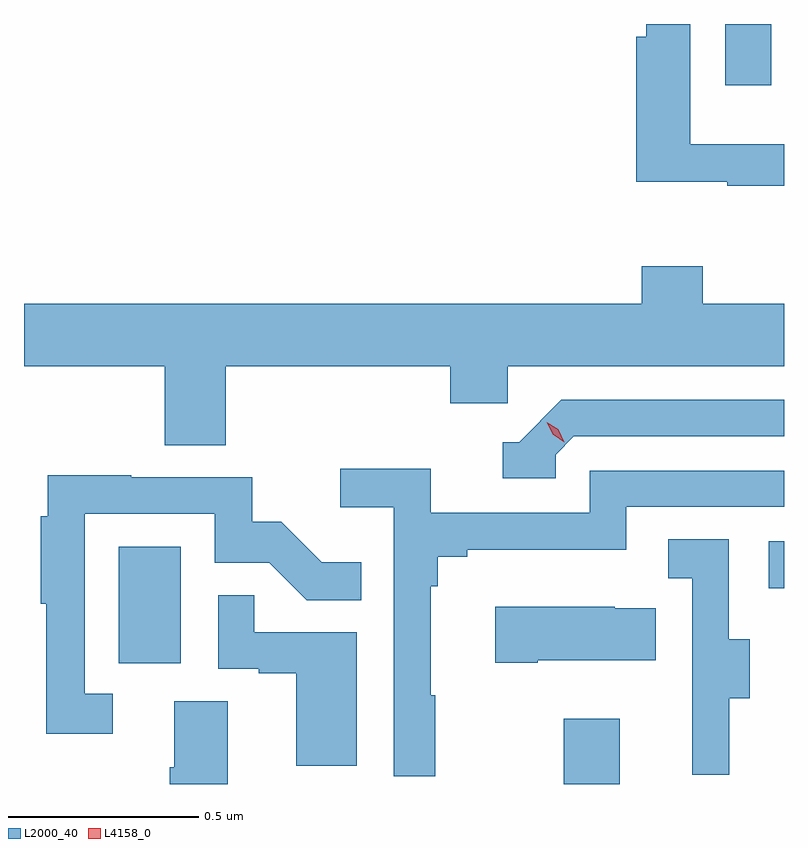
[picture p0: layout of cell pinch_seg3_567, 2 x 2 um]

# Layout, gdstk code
import gdstk
lib = gdstk.Library(unit=1e-6, precision=1e-09)
def R(c, l, rs):  # rectangles x0, y0, x1, y1
    for r in rs: c.add(gdstk.rectangle(r[:2], r[2:], *l))
def P(c, l, *ps):  # polygons
    for p in ps: c.add(gdstk.Polygon(p, *l))
L2000_40 = (2000, 40)
L4158_0 = (4158, 0)

pinch_seg3_567 = lib.new_cell('pinch_seg3_567')
R(pinch_seg3_567, L2000_40, [(1137.742,691.824,1137.889,691.996), (1136.57,692.142,1136.734,692.449), (1138.281,692.339,1138.321,692.463), (1138.166,693.663,1138.288,693.824)])
P(pinch_seg3_567, L2000_40, [(1138.321,693.507),(1138.284,693.507),(1138.284,693.508),(1138.074,693.508),(1138.074,693.824),(1137.958,693.824),(1137.958,693.79),(1137.932,693.79),(1137.932,693.409),(1138.171,693.409),(1138.171,693.399),(1138.321,693.399)],
  [(1136.852,692.924),(1137.443,692.924),(1137.443,692.826),(1137.594,692.826),(1137.594,692.924),(1138.321,692.924),(1138.321,693.088),(1138.107,693.088),(1138.107,693.187),(1137.947,693.187),(1137.947,693.088),(1136.321,693.088),(1136.321,692.924),(1136.692,692.924),(1136.692,692.716),(1136.852,692.716)],
  [(1137.72,692.691),(1137.768,692.739),(1138.321,692.739),(1138.321,692.835),(1137.735,692.835),(1137.624,692.724),(1137.581,692.724),(1137.581,692.628),(1137.72,692.628)],
  [(1137.403,692.057),(1137.391,692.057),(1137.391,692.345),(1137.41,692.345),(1137.41,692.422),(1137.487,692.422),(1137.487,692.441),(1137.906,692.441),(1137.906,692.553),(1138.321,692.553),(1138.321,692.649),(1137.81,692.649),(1137.81,692.538),(1137.392,692.538),(1137.392,692.654),(1137.153,692.654),(1137.153,692.552),(1137.294,692.552),(1137.294,691.845),(1137.403,691.845)],
  [(1136.554,692.061),(1136.481,692.061),(1136.481,692.535),(1136.823,692.535),(1136.823,692.406),(1136.967,692.406),(1137.065,692.308),(1137.209,692.308),(1137.209,692.407),(1137.105,692.407),(1136.998,692.514),(1136.922,692.514),(1136.922,692.631),(1136.603,692.631),(1136.603,692.636),(1136.384,692.636),(1136.384,692.528),(1136.365,692.528),(1136.365,692.298),(1136.38,692.298),(1136.38,691.956),(1136.554,691.956)],
  [(1138.177,692.05),(1138.231,692.05),(1138.231,692.205),(1138.176,692.205),(1138.176,692.468),(1138.017,692.468),(1138.017,692.365),(1138.08,692.365),(1138.08,692.061),(1138.079,692.061),(1138.079,691.848),(1138.177,691.848)],
  [(1137.196,692.223),(1136.927,692.223),(1136.927,692.321),(1136.832,692.321),(1136.832,692.127),(1136.939,692.127),(1136.939,692.115),(1137.038,692.115),(1137.038,691.872),(1137.196,691.872)],
  [(1137.673,692.15),(1137.983,692.15),(1137.983,692.287),(1137.875,692.287),(1137.875,692.29),(1137.561,692.29),(1137.561,692.143),(1137.673,692.143)],
  [(1136.857,692.042),(1136.717,692.042),(1136.717,691.868),(1136.705,691.868),(1136.705,691.824),(1136.857,691.824)])
P(pinch_seg3_567, L4158_0, [(1137.743,692.724),(1137.712,692.744),(1137.696,692.776),(1137.696,692.776),(1137.696,692.776),(1137.727,692.757),(1137.743,692.724),(1137.743,692.724)])

lib.write_gds('pinch_seg3_567.gds')
